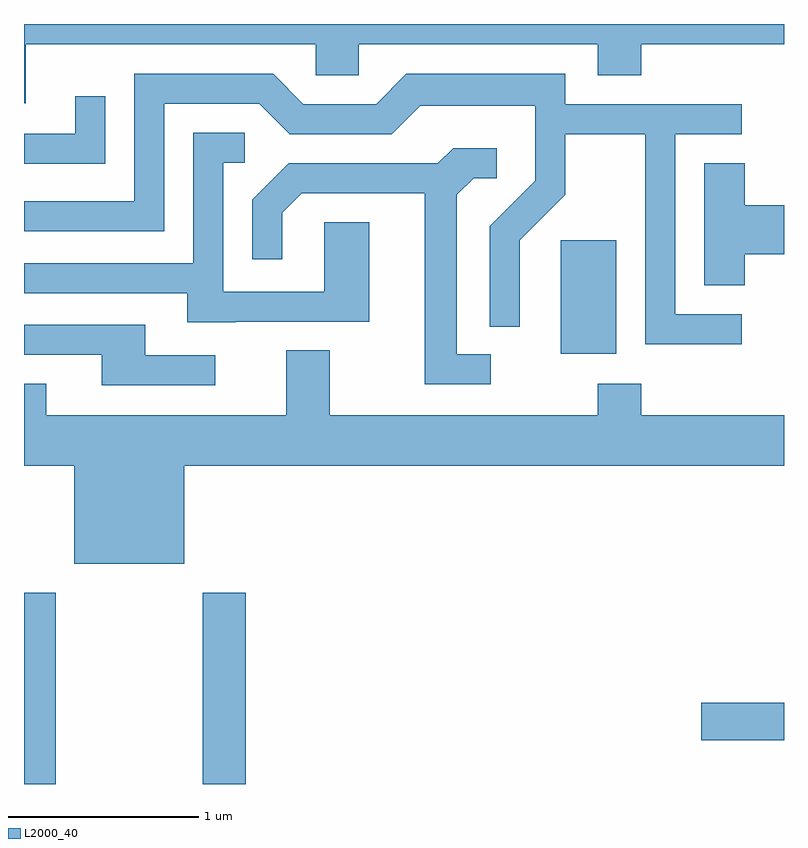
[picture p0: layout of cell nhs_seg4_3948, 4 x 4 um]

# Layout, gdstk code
import gdstk
lib = gdstk.Library(unit=1e-6, precision=1e-09)
def R(c, l, rs):  # rectangles x0, y0, x1, y1
    for r in rs: c.add(gdstk.rectangle(r[:2], r[2:], *l))
def P(c, l, *ps):  # polygons
    for p in ps: c.add(gdstk.Polygon(p, *l))
L2000_40 = (2000, 40)

nhs_seg4_3948 = lib.new_cell('nhs_seg4_3948')
R(nhs_seg4_3948, L2000_40, [(301.611,1261.982,301.779,1262.989), (302.551,1261.982,302.779,1262.989), (305.176,1262.211,305.611,1262.409), (304.436,1264.246,304.729,1264.844)])
P(nhs_seg4_3948, L2000_40, [(301.619,1265.876),(303.146,1265.876),(303.146,1265.711),(303.374,1265.711),(303.374,1265.876),(304.631,1265.876),(304.631,1265.711),(304.859,1265.711),(304.859,1265.876),(305.611,1265.876),(305.611,1265.982),(301.611,1265.982),(301.611,1265.566),(301.619,1265.566)],
  [(305.388,1264.454),(305.039,1264.454),(305.039,1265.401),(305.388,1265.401),(305.388,1265.559),(304.459,1265.559),(304.459,1265.719),(303.624,1265.719),(303.464,1265.559),(303.082,1265.559),(302.922,1265.719),(302.191,1265.719),(302.191,1265.049),(301.611,1265.049),(301.611,1264.891),(302.349,1264.891),(302.349,1265.561),(302.849,1265.561),(303.009,1265.401),(303.547,1265.401),(303.697,1265.551),(304.301,1265.551),(304.301,1265.157),(304.061,1264.917),(304.061,1264.388),(304.219,1264.388),(304.219,1264.844),(304.459,1265.084),(304.459,1265.401),(304.881,1265.401),(304.881,1264.296),(305.388,1264.296)],
  [(302.039,1265.603),(301.881,1265.603),(301.881,1265.404),(301.611,1265.404),(301.611,1265.246),(302.039,1265.246)],
  [(302.725,1264.416),(303.429,1264.416),(303.429,1264.939),(303.191,1264.939),(303.191,1264.574),(302.659,1264.574),(302.659,1265.251),(302.773,1265.251),(302.773,1265.409),(302.501,1265.409),(302.501,1264.724),(301.611,1264.724),(301.611,1264.566),(302.471,1264.566),(302.471,1264.411),(302.725,1264.411)],
  [(304.068,1264.244),(303.889,1264.244),(303.889,1265.084),(303.977,1265.171),(304.098,1265.171),(304.098,1265.329),(303.869,1265.329),(303.789,1265.249),(303.004,1265.249),(302.811,1265.057),(302.811,1264.743),(302.969,1264.743),(302.969,1264.989),(303.072,1265.091),(303.721,1265.091),(303.721,1264.086),(304.068,1264.086)],
  [(305.404,1264.771),(305.611,1264.771),(305.611,1265.029),(305.404,1265.029),(305.404,1265.249),(305.191,1265.249),(305.191,1264.606),(305.404,1264.606)],
  [(302.618,1264.239),(302.249,1264.239),(302.249,1264.399),(301.611,1264.399),(301.611,1264.241),(302.021,1264.241),(302.021,1264.081),(302.618,1264.081)],
  [(302.454,1263.656),(305.611,1263.656),(305.611,1263.924),(304.859,1263.924),(304.859,1264.089),(304.631,1264.089),(304.631,1263.924),(303.219,1263.924),(303.219,1264.264),(302.991,1264.264),(302.991,1263.924),(301.729,1263.924),(301.729,1264.089),(301.611,1264.089),(301.611,1263.656),(301.876,1263.656),(301.876,1263.141),(302.454,1263.141)])

lib.write_gds('nhs_seg4_3948.gds')
